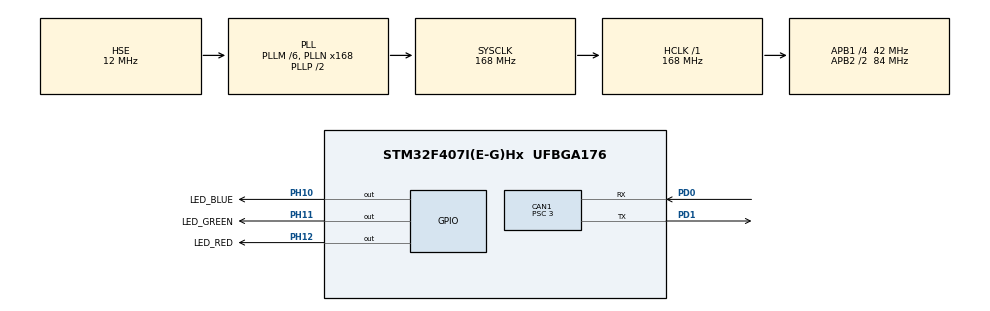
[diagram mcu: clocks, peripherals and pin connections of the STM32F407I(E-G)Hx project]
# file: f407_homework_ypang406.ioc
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CAN1.BS1=CAN_BS1_10TQ
CAN1.BS2=CAN_BS2_3TQ
CAN1.CalculateBaudRate=1000000
CAN1.CalculateTimeBit=1000
CAN1.CalculateTimeQuantum=71.42857142857143
CAN1.Mode=CAN_MODE_NORMAL
CAN1.Prescaler=3
Mcu.Family=STM32F4
Mcu.Name=STM32F407I(E-G)Hx
Mcu.Package=UFBGA176
NVIC.CAN1_RX0_IRQn=true\:0\:0\:false\:false\:true\:true\:true\:true
NVIC.PriorityGroup=NVIC_PRIORITYGROUP_4
PA13.Mode=Serial_Wire
PA13.Signal=SYS_JTMS-SWDIO
PA14.Mode=Serial_Wire
PA14.Signal=SYS_JTCK-SWCLK
PD0.Mode=CAN_Activate
PD0.Signal=CAN1_RX
PD1.Mode=CAN_Activate
PD1.Signal=CAN1_TX
PH0-OSC_IN.Mode=HSE-External-Oscillator
PH0-OSC_IN.Signal=RCC_OSC_IN
PH1-OSC_OUT.Mode=HSE-External-Oscillator
PH1-OSC_OUT.Signal=RCC_OSC_OUT
PH10.GPIO_Label=LED_BLUE
PH10.PinState=GPIO_PIN_SET
PH10.Signal=GPIO_Output
PH11.GPIO_Label=LED_GREEN
PH11.Signal=GPIO_Output
PH12.GPIO_Label=LED_RED
PH12.Signal=GPIO_Output
ProjectManager.HeapSize=0x200
ProjectManager.StackSize=0x400
ProjectManager.TargetToolchain=CMake
RCC.48MHZClocksFreq_Value=84000000
RCC.AHBFreq_Value=168000000
RCC.APB1CLKDivider=RCC_HCLK_DIV4
RCC.APB1Freq_Value=42000000
RCC.APB1TimFreq_Value=84000000
RCC.APB2CLKDivider=RCC_HCLK_DIV2
RCC.APB2Freq_Value=84000000
RCC.APB2TimFreq_Value=168000000
RCC.CortexFreq_Value=168000000
RCC.HCLKFreq_Value=168000000
RCC.HSE_VALUE=12000000
RCC.HSI_VALUE=16000000
RCC.LSE_VALUE=32768
RCC.PLLM=6
RCC.PLLN=168
RCC.PLLSourceVirtual=RCC_PLLSOURCE_HSE
RCC.SYSCLKFreq_VALUE=168000000
RCC.SYSCLKSource=RCC_SYSCLKSOURCE_PLLCLK
RCC.VCOOutputFreq_Value=336000000
board=custom

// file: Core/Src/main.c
/* USER CODE BEGIN Header */
/**
  ******************************************************************************
  * @file           : main.c
  * @brief          : Main program body
  ******************************************************************************
  * @attention
  *
  * Copyright (c) 2026 STMicroelectronics.
  * All rights reserved.
  *
  * This software is licensed under terms that can be found in the LICENSE file
  * in the root directory of this software component.
  * If no LICENSE file comes with this software, it is provided AS-IS.
  *
  ******************************************************************************
  */
/* USER CODE END Header */
#include "main.h"
#include "can.h"
#include "gpio.h"

/* USER CODE BEGIN PV */
uint8_t messages[2];
/* USER CODE END PV */

void SystemClock_Config(void);

int main(void)
{

  /* MCU Configuration--------------------------------------------------------*/

  /* Reset of all peripherals, Initializes the Flash interface and the Systick. */
  HAL_Init();

  /* Configure the system clock */
  SystemClock_Config();

  /* Initialize all configured peripherals */
  MX_GPIO_Init();
  MX_CAN1_Init();
  /* USER CODE BEGIN 2 */
  CAN_TxHeaderTypeDef txHeader = {0};
  txHeader.StdId = 0x200;// TODO 对吗
  txHeader.ExtId = 0;// TODO对吗
  txHeader.IDE = CAN_ID_STD;// TODO 不对吧
  txHeader.RTR = CAN_RTR_DATA;//TODO 要改吗
  txHeader.DLC = 8;// TODO 要改吗
  txHeader.TransmitGlobalTime = DISABLE;

  /* 0x201 M2006 current, big-endian int16, range typically [-10000, 10000] */
  int16_t current = 2500;
  uint8_t txData[8] = {};// TODO 构造控制电机的CAN帧。建议电流值：1000
  txData[0] = (current >> 8) & 0xFF; // High byte
  txData[1] = current & 0xFF;        // Low byte
  uint32_t txMailbox;
  /* USER CODE END 2 */

  /* Infinite loop */
  /* USER CODE BEGIN WHILE */
  while (1)
  {
    (void)HAL_CAN_AddTxMessage(&hcan1, &txHeader, txData, &txMailbox);
    HAL_Delay(10); // TODO 电机的控制频率建议100hz
    /* USER CODE END WHILE */

  }
}

void SystemClock_Config(void)
{
  RCC_OscInitTypeDef RCC_OscInitStruct = {0};
  RCC_ClkInitTypeDef RCC_ClkInitStruct = {0};

  /** Configure the main internal regulator output voltage
  */
  __HAL_RCC_PWR_CLK_ENABLE();
  __HAL_PWR_VOLTAGESCALING_CONFIG(PWR_REGULATOR_VOLTAGE_SCALE1);

  /** Initializes the RCC Oscillators according to the specified parameters
  * in the RCC_OscInitTypeDef structure.
  */
  RCC_OscInitStruct.OscillatorType = RCC_OSCILLATORTYPE_HSE;
  RCC_OscInitStruct.HSEState = RCC_HSE_ON;
  RCC_OscInitStruct.PLL.PLLState = RCC_PLL_ON;
  RCC_OscInitStruct.PLL.PLLSource = RCC_PLLSOURCE_HSE;
  RCC_OscInitStruct.PLL.PLLM = 6;
  RCC_OscInitStruct.PLL.PLLN = 168;
  RCC_OscInitStruct.PLL.PLLP = RCC_PLLP_DIV2;
  RCC_OscInitStruct.PLL.PLLQ = 4;
  if (HAL_RCC_OscConfig(&RCC_OscInitStruct) != HAL_OK)
  {
    Error_Handler();
  }

  /** Initializes the CPU, AHB and APB buses clocks
  */
  RCC_ClkInitStruct.ClockType = RCC_CLOCKTYPE_HCLK|RCC_CLOCKTYPE_SYSCLK
                              |RCC_CLOCKTYPE_PCLK1|RCC_CLOCKTYPE_PCLK2;
  RCC_ClkInitStruct.SYSCLKSource = RCC_SYSCLKSOURCE_PLLCLK;
  RCC_ClkInitStruct.AHBCLKDivider = RCC_SYSCLK_DIV1;
  RCC_ClkInitStruct.APB1CLKDivider = RCC_HCLK_DIV4;
  RCC_ClkInitStruct.APB2CLKDivider = RCC_HCLK_DIV2;

  if (HAL_RCC_ClockConfig(&RCC_ClkInitStruct, FLASH_LATENCY_5) != HAL_OK)
  {
    Error_Handler();
  }
}

void Error_Handler(void)
{
  __disable_irq();
  while (1)
  {
  }
}
